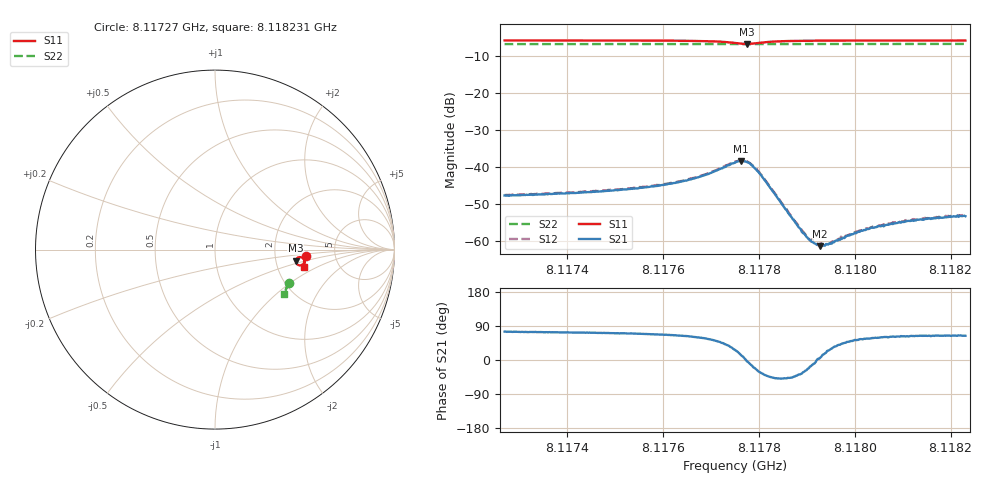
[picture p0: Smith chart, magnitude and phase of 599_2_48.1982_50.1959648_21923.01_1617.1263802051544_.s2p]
#  HZ  S  RI  R  50.00
! Rohde & Schwarz Vector Network Analyzer
! Rohde-Schwarz,ZNB20-2Port,1311601062101988,3.16
! Created: UTC 3/20/2024, 12:02:55 PM
! freq[Hz]  re:S11  im:S11  re:S21  im:S21  re:S12  im:S12  re:S22  im:S22
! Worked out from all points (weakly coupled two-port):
!   401 points, 8.11727 GHz to 8.118231 GHz, reference 50 ohm
!   highest |S21| = -38.39 dB at 8.117762 GHz (marker M1); lowest = -61.4 dB at 8.117928 GHz (marker M2)
!   lowest |S11| = -6.8 dB at 8.117774 GHz (marker M3), VSWR 2.67, Z = 130 - j20.3 ohm
!   |S11| at or under -10 dB: nowhere
!   |S22| runs from -6.9 to -6.8 dB; largest |S21 - S12| = 0.00044
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8.1172698e9  0.5052 -0.0363  0.00107 0.00397  0.00118 0.004  0.412 -0.1862
8.1174308e9  0.5034 -0.0501  0.00138 0.00429  0.00141 0.00432  0.4075 -0.1966
8.1175125e9  0.5019 -0.0579  0.00163 0.00461  0.00171 0.00469  0.4054 -0.2019
8.1175918e9  0.4995 -0.0667  0.00216 0.00514  0.00224 0.00522  0.403 -0.2073
8.1176423e9  0.4965 -0.0736  0.00284 0.00576  0.00294 0.00582  0.4012 -0.2104
8.1176807e9  0.4914 -0.08  0.00392 0.00639  0.00401 0.00649  0.3998 -0.2129
8.1177504e9  0.4608 -0.0842  0.0102 0.00508  0.0105 0.00527  0.3964 -0.2169
8.1177624e9  0.453 -0.0755  0.0117 0.00286  0.0119 0.00284  0.3958 -0.2173
8.1177744e9  0.4505 -0.0621  0.0116 -0.000393  0.012 -0.000263  0.3954 -0.2172
8.1177817e9  0.453 -0.054  0.0109 -0.00199  0.011 -0.00206  0.3957 -0.2174
8.1177889e9  0.4579 -0.0477  0.00938 -0.00333  0.00971 -0.00335  0.3956 -0.2176
8.1178033e9  0.4702 -0.0419  0.00663 -0.00429  0.00673 -0.00435  0.3956 -0.2183
8.1178874e9  0.4972 -0.0599  0.00115 -0.00087  0.00118 -0.000893  0.3941 -0.2243
8.1179042e9  0.498 -0.0631  0.000979 -0.000397  0.00101 -0.000433  0.3937 -0.2255
8.1179114e9  0.4983 -0.0645  0.000945 -0.000219  0.00101 -0.000304  0.3935 -0.226
8.1179282e9  0.4987 -0.0672  0.000845 9.29e-05  0.000912 6.66e-05  0.3928 -0.2272
8.1179451e9  0.4989 -0.0696  0.000817 0.000375  0.000819 0.00039  0.3924 -0.2283
8.1180051e9  0.4989 -0.077  0.000789 0.00104  0.000805 0.00108  0.3905 -0.2321
8.1180364e9  0.4987 -0.0804  0.000797 0.00128  0.00084 0.00129  0.3894 -0.234
8.1180724e9  0.4982 -0.0839  0.000818 0.00147  0.000842 0.0015  0.388 -0.2363
8.1181517e9  0.4972 -0.0913  0.000882 0.00178  0.000906 0.00182  0.3854 -0.2412
8.118231e9  0.496 -0.0979  0.000948 0.00194  0.000938 0.002  0.3825 -0.2461
